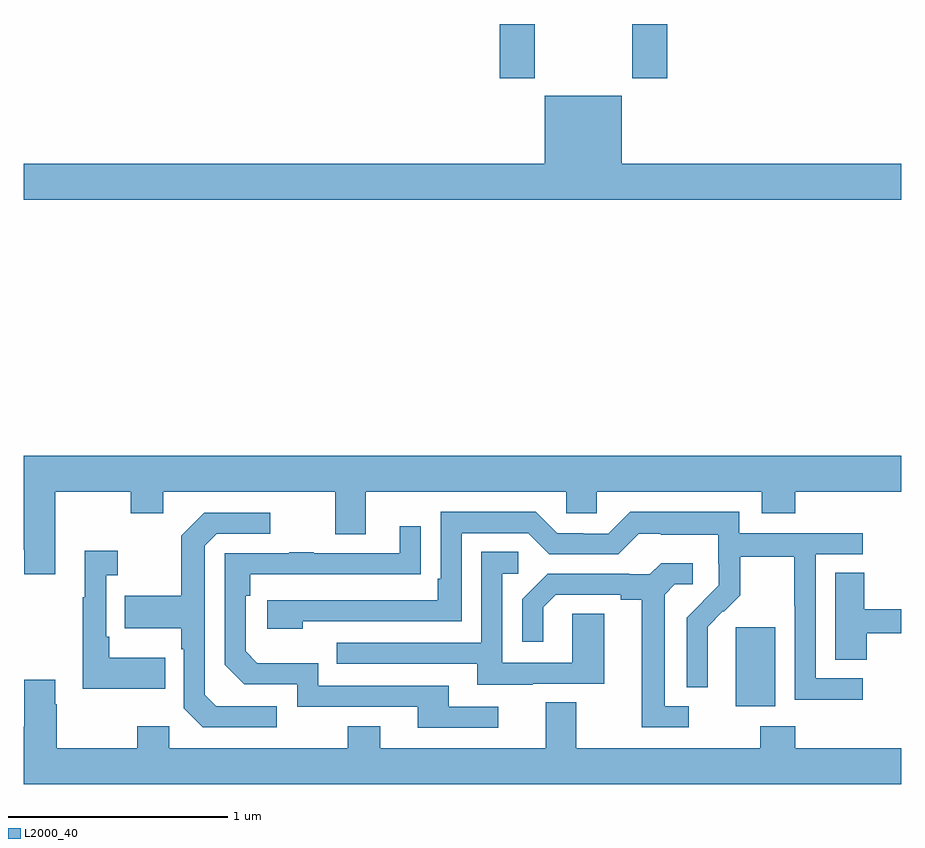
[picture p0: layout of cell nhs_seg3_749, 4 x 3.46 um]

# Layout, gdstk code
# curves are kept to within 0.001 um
import gdstk
lib = gdstk.Library(unit=1e-6, precision=1e-09)
def R(c, l, rs):  # rectangles x0, y0, x1, y1
    for r in rs: c.add(gdstk.rectangle(r[:2], r[2:], *l))
def P(c, l, *ps):  # polygons
    for p in ps: c.add(gdstk.Polygon(p, *l))
L2000_40 = (2000, 40)

nhs_seg3_749 = lib.new_cell('nhs_seg3_749')
R(nhs_seg3_749, L2000_40, [(152.246,681.29,152.425,681.651), (151.169,684.153,151.329,684.4), (151.774,684.153,151.934,684.4)])
P(nhs_seg3_749, L2000_40, [(153,683.764),(151.726,683.764),(151.726,684.073),(151.376,684.073),(151.376,683.764),(149,683.764),(149,683.6),(153,683.6)],
  [(149.143,682.268),(149.488,682.268),(149.488,682.169),(149.635,682.169),(149.635,682.268),(150.419,682.268),(150.419,682.074),(150.559,682.074),(150.559,682.268),(151.473,682.268),(151.473,682.17),(151.611,682.17),(151.611,682.268),(152.363,682.268),(152.363,682.169),(152.516,682.169),(152.516,682.268),(153,682.268),(153,682.432),(149,682.432),(149,682.003),(149.003,682.003),(149.003,681.891),(149.143,681.891)],
  [(152.824,681.417),(152.61,681.417),(152.61,681.984),(152.824,681.984),(152.824,682.08),(152.262,682.08),(152.262,682.177),(151.765,682.177),(151.665,682.077),(151.55,682.077),(151.55,682.08),(151.431,682.08),(151.335,682.176),(150.9,682.176),(150.9,681.871),(150.887,681.871),(150.887,681.774),(150.111,681.774),(150.111,681.644),(150.272,681.644),(150.272,681.678),(150.996,681.678),(150.996,682.08),(151.299,682.08),(151.395,681.984),(151.71,681.984),(151.803,682.077),(151.903,682.077),(151.903,682.073),(152.166,682.073),(152.166,681.939),(152.168,681.939),(152.168,681.842),(152.022,681.694),(152.022,681.376),(152.118,681.376),(152.117,681.653),(152.187,681.723),(152.19,681.72),(152.267,681.797),(152.267,681.972),(152.512,681.972),(152.512,681.748),(152.514,681.748),(152.514,681.319),(152.824,681.319)],
  [(150.154,681.291),(149.877,681.291),(149.826,681.342),(149.826,682.023),(149.88,682.077),(150.124,682.077),(150.124,682.173),(149.823,682.173),(149.718,682.067),(149.718,681.795),(149.461,681.795),(149.461,681.647),(149.718,681.647),(149.718,681.551),(149.73,681.551),(149.73,681.282),(149.817,681.195),(150.154,681.195)],
  [(151.162,681.288),(150.937,681.288),(150.937,681.384),(150.342,681.384),(150.342,681.487),(150.065,681.487),(150.012,681.54),(150.012,681.794),(150.032,681.794),(150.032,681.891),(150.809,681.892),(150.809,682.111),(150.713,682.111),(150.713,681.987),(150.323,681.987),(150.323,681.992),(150.211,681.992),(150.211,681.987),(149.916,681.987),(149.916,681.48),(150.006,681.39),(150.246,681.39),(150.246,681.288),(150.797,681.288),(150.797,681.192),(151.162,681.192)],
  [(149.645,681.511),(149.389,681.511),(149.389,681.607),(149.376,681.607),(149.376,681.887),(149.428,681.887),(149.428,682),(149.279,682),(149.279,681.787),(149.268,681.787),(149.268,681.371),(149.645,681.371)],
  [(151.321,681.393),(151.645,681.393),(151.645,681.713),(151.5,681.713),(151.5,681.489),(151.182,681.489),(151.182,681.894),(151.255,681.894),(151.255,681.995),(151.086,681.995),(151.086,681.579),(150.427,681.579),(150.427,681.483),(151.067,681.483),(151.067,681.389),(151.321,681.389)],
  [(152.032,681.291),(151.921,681.291),(151.921,681.799),(151.968,681.846),(152.05,681.846),(152.05,681.943),(151.906,681.943),(151.854,681.891),(151.76,681.891),(151.76,681.894),(151.388,681.894),(151.272,681.778),(151.272,681.585),(151.369,681.585),(151.369,681.741),(151.426,681.798),(151.721,681.798),(151.721,681.776),(151.817,681.776),(151.817,681.195),(152.032,681.195)],
  [(152.843,681.624),(153,681.624),(153,681.733),(152.83,681.733),(152.83,681.899),(152.699,681.899),(152.699,681.502),(152.843,681.502)],
  [(153,681.1),(152.516,681.1),(152.516,681.199),(152.356,681.199),(152.356,681.1),(151.519,681.1),(151.519,681.308),(151.379,681.308),(151.379,681.1),(150.625,681.1),(150.625,681.199),(150.478,681.199),(150.478,681.1),(149.664,681.1),(149.664,681.199),(149.518,681.199),(149.518,681.1),(149.151,681.1),(149.151,681.299),(149.143,681.299),(149.143,681.412),(149.003,681.412),(149.003,681.196),(149,681.196),(149,680.936),(153,680.936)])

lib.write_gds('nhs_seg3_749.gds')
